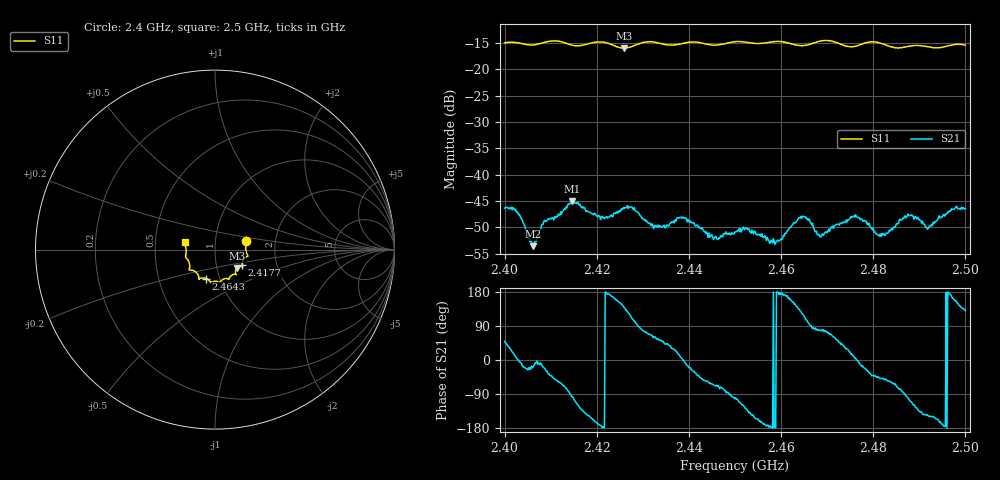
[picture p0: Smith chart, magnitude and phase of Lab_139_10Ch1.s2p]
# Hz S RI R 50
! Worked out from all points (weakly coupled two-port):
!   601 points, 2.4 GHz to 2.5 GHz, reference 50 ohm
!   highest |S21| = -45.05 dB at 2.4147 GHz (marker M1); lowest = -53.6 dB at 2.4062 GHz (marker M2)
!   lowest |S11| = -16.0 dB at 2.426 GHz (marker M3), VSWR 1.38, Z = 62.2 - j13.2 ohm
!   |S11| at or under -10 dB: start of sweep to end of sweep
!   S12 and S22 are empty: the file has one direction only
!   S11 on the Smith chart (normalised r, x): 2.4 GHz: 1.41, +0.14; 2.4177 GHz: 1.33, -0.23; 2.4643 GHz: 0.86, -0.29; 2.5 GHz: 0.71, +0.06
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2.4e9  0.1729 0.0481  0.00313 0.00364  0 0  0 0
2.402833e9  0.1759 0.0364  0.00431 0.000174  0 0  0 0
2.406167e9  0.1707 0.00102  0.00198 -0.000695  0 0  0 0
2.4085e9  0.1788 -0.0254  0.00339 -0.00125  0 0  0 0
2.414667e9  0.1622 -0.0513  -0.000761 -0.00554  0 0  0 0
2.416667e9  0.1523 -0.0733  -0.00314 -0.00374  0 0  0 0
2.417667e9  0.1511 -0.0846  -0.00354 -0.0027  0 0  0 0
2.421333e9  0.1538 -0.0974  -0.00397 -0.000233  0 0  0 0
2.426e9  0.121 -0.1037  -0.00356 0.00322  0 0  0 0
2.433333e9  0.1139 -0.1376  0.0019 0.00272  0 0  0 0
2.438333e9  0.0804 -0.1557  0.00393 0.000429  0 0  0 0
2.445833e9  0.0493 -0.1631  0.000959 -0.00242  0 0  0 0
2.45e9  0.0279 -0.1817  -0.000621 -0.00279  0 0  0 0
2.459167e9  -0.024 -0.1833  -0.00237 1.28e-05  0 0  0 0
2.464333e9  -0.0493 -0.1612  -0.00241 0.00322  0 0  0 0
2.466667e9  -0.0761 -0.1586  0.000181 0.00333  0 0  0 0
2.468833e9  -0.089 -0.165  0.000497 0.00264  0 0  0 0
2.476e9  -0.1157 -0.1183  0.00395 0.000331  0 0  0 0
2.483333e9  -0.1406 -0.0904  0.00163 -0.00233  0 0  0 0
2.487333e9  -0.1568 -0.052  -0.000514 -0.004  0 0  0 0
2.491833e9  -0.1621 -0.0273  -0.00253 -0.00168  0 0  0 0
2.5e9  -0.1648 0.0437  -0.00308 0.00364  0 0  0 0
